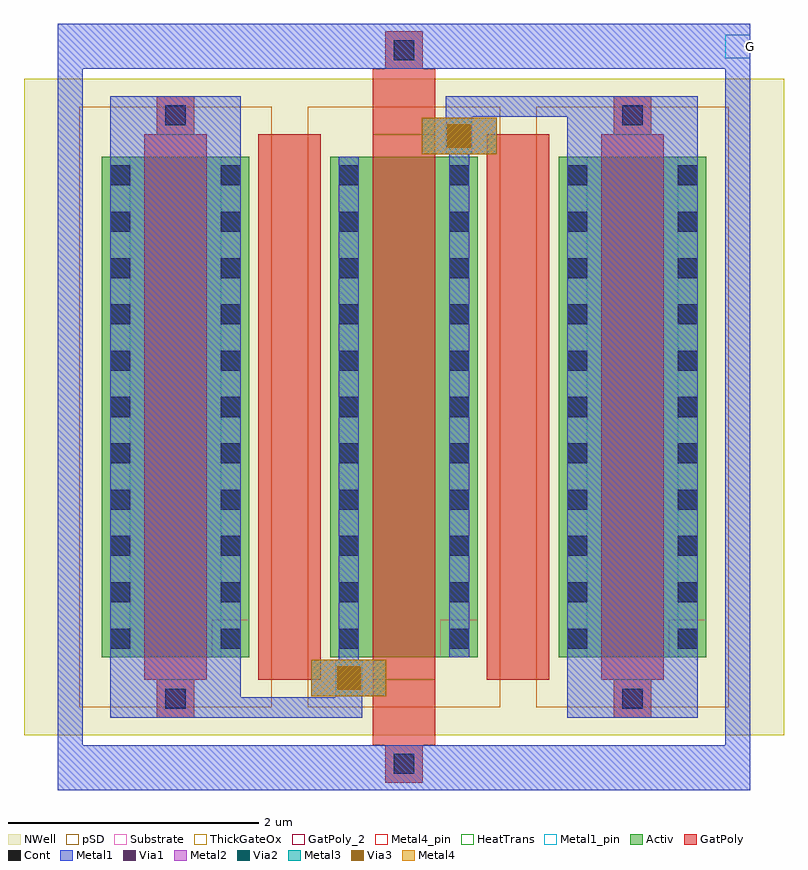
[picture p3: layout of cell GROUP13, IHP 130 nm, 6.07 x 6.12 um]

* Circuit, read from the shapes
.subckt GROUP13 G
XM1 pmosHV$2_priv1_1/D pmosHV$2_priv1_1/D pmosHV$2_priv1_1/D n1 sg13_hv_pmos w=4u l=0.5u
XM2 pmosHV$2_priv1_1/S G pmosHV$2_priv1_1/D n1 sg13_hv_pmos w=4u l=0.5u
XM3 pmosHV$2_priv1_1/S pmosHV$2_priv1_1/S pmosHV$2_priv1_1/S n1 sg13_hv_pmos w=4u l=0.5u
.ends

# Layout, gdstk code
import gdstk
lib = gdstk.Library(unit=1e-6, precision=1e-09)
def R(c, l, rs):  # rectangles x0, y0, x1, y1
    for r in rs: c.add(gdstk.rectangle(r[:2], r[2:], *l))
def A(c, l, x, y, w, h, nx, ny, dx, dy):  # array of equal rectangles
    R(c, l, [(x+i*dx, y+j*dy, x+i*dx+w, y+j*dy+h) for i in range(nx) for j in range(ny)])
Activ = (1, 0)
GatPoly = (5, 0)
GatPoly_2 = (5, 2)
Cont = (6, 0)
Metal1 = (8, 0)
Metal1_pin = (8, 2)
Metal2 = (10, 0)
pSD = (14, 0)
Via1 = (19, 0)
Via2 = (29, 0)
Metal3 = (30, 0)
NWell = (31, 0)
Substrate = (40, 0)
ThickGateOx = (44, 0)
Via3 = (49, 0)
Metal4 = (50, 0)
Metal4_pin = (50, 2)
HeatTrans = (51, 0)

pmoshv_2_priv2 = lib.new_cell('pmosHV$2_priv2')
R(pmoshv_2_priv2, Activ, [(0,0,0.3,0.3), (0,0,1.18,4), (0.88,0,1.18,0.3)])
R(pmoshv_2_priv2, GatPoly, [(0.44,-0.48,0.74,-0.18), (0.34,-0.18,0.84,4.18), (0.44,4.18,0.74,4.48)])
R(pmoshv_2_priv2, GatPoly_2, [(0.34,-0.18,0.84,4.18)])
A(pmoshv_2_priv2, Cont, 0.07, 0.07, 0.16, 0.16, 1, 11, 0, 0.37)
A(pmoshv_2_priv2, Cont, 0.95, 0.07, 0.16, 0.16, 1, 11, 0, 0.37)
R(pmoshv_2_priv2, Cont, [(0.51,-0.41,0.67,-0.25), (0.51,4.25,0.67,4.41)])
R(pmoshv_2_priv2, Metal1, [(0.07,-0.48,1.11,4.48), (0.07,0,0.23,4), (0.95,0,1.11,4)])
R(pmoshv_2_priv2, Metal1_pin, [(0.07,0,0.23,4), (0.95,0,1.11,4)])
R(pmoshv_2_priv2, pSD, [(-0.18,-0.4,1.36,4.4)])
R(pmoshv_2_priv2, NWell, [(-0.62,-0.62,1.8,4.62)])
R(pmoshv_2_priv2, Substrate, [(0.88,0,1.18,0.3)])
R(pmoshv_2_priv2, ThickGateOx, [(-0.62,-0.62,1.8,4.62)])
R(pmoshv_2_priv2, HeatTrans, [(0.34,-0.18,0.84,4.18)])
pmoshv_2_priv2.add(gdstk.Label('pmosHV', (0.59,2), layer=63, texttype=0))
pmoshv_2_priv2.add(gdstk.Label('pmos', (0.59,2), layer=51, texttype=0))

pmoshv_2_priv1 = lib.new_cell('pmosHV$2_priv1')
R(pmoshv_2_priv1, Activ, [(0,0,0.3,0.3), (0,0,1.18,4), (0.88,0,1.18,0.3)])
R(pmoshv_2_priv1, GatPoly, [(0.44,-1,0.74,-0.7), (0.34,-0.7,0.84,-0.18), (0.34,-0.18,0.84,4.18), (0.34,4.18,0.84,4.7), (0.44,4.7,0.74,5)])
R(pmoshv_2_priv1, GatPoly_2, [(0.34,-0.18,0.84,4.18)])
A(pmoshv_2_priv1, Cont, 0.07, 0.07, 0.16, 0.16, 1, 11, 0, 0.37)
A(pmoshv_2_priv1, Cont, 0.95, 0.07, 0.16, 0.16, 1, 11, 0, 0.37)
R(pmoshv_2_priv1, Cont, [(0.51,-0.93,0.67,-0.77), (0.51,4.77,0.67,4.93)])
R(pmoshv_2_priv1, Metal1, [(0.455,-1.06,0.725,-0.7), (0.045,-0.31,0.255,-0.02), (0.07,-0.035,0.23,0.015), (0.07,0,0.23,4), (0.95,0,1.11,4), (0.95,3.985,1.11,4.035), (0.925,4.02,1.135,4.31), (0.455,4.7,0.725,5.06)])
R(pmoshv_2_priv1, Metal1_pin, [(0.07,0,0.23,4), (0.95,0,1.11,4)])
R(pmoshv_2_priv1, Metal2, [(-0.15,-0.31,0.45,-0.02), (0.05,-0.31,0.25,-0.02), (0.73,4.02,1.33,4.31), (0.93,4.02,1.13,4.31)])
R(pmoshv_2_priv1, pSD, [(-0.18,-0.4,1.36,4.4)])
R(pmoshv_2_priv1, Via1, [(0.055,-0.26,0.245,-0.07), (0.935,4.07,1.125,4.26)])
R(pmoshv_2_priv1, Via2, [(0.055,-0.26,0.245,-0.07), (0.935,4.07,1.125,4.26)])
R(pmoshv_2_priv1, Metal3, [(-0.15,-0.31,0.45,-0.02), (0.05,-0.31,0.25,-0.02), (0.73,4.02,1.33,4.31), (0.93,4.02,1.13,4.31)])
R(pmoshv_2_priv1, NWell, [(-0.62,-0.62,1.8,4.62)])
R(pmoshv_2_priv1, Substrate, [(0.88,0,1.18,0.3)])
R(pmoshv_2_priv1, ThickGateOx, [(-0.62,-0.62,1.8,4.62)])
R(pmoshv_2_priv1, Via3, [(0.055,-0.26,0.245,-0.07), (0.935,4.07,1.125,4.26)])
R(pmoshv_2_priv1, Metal4, [(-0.15,-0.31,0.45,-0.02), (0.05,-0.31,0.25,-0.02), (0.73,4.02,1.33,4.31), (0.93,4.02,1.13,4.31)])
R(pmoshv_2_priv1, Metal4_pin, [(0.055,-0.26,0.245,-0.07), (0.935,4.07,1.125,4.26)])
R(pmoshv_2_priv1, HeatTrans, [(0.34,-0.18,0.84,4.18)])
pmoshv_2_priv1.add(gdstk.Label('pmosHV', (0.59,2), layer=63, texttype=0))
pmoshv_2_priv1.add(gdstk.Label('pmos', (0.59,2), layer=51, texttype=0))
pmoshv_2_priv1.add(gdstk.Label('S', (1.03,4.165), layer=50, texttype=0))
pmoshv_2_priv1.add(gdstk.Label('D', (0.15,-0.165), layer=50, texttype=0))

pmoshv_2_priv3 = lib.new_cell('pmosHV$2_priv3')
R(pmoshv_2_priv3, Activ, [(0,0,0.3,0.3), (0,0,1.18,4), (0.88,0,1.18,0.3)])
R(pmoshv_2_priv3, GatPoly, [(0.44,-0.48,0.74,-0.18), (0.34,-0.18,0.84,4.18), (0.44,4.18,0.74,4.48)])
R(pmoshv_2_priv3, GatPoly_2, [(0.34,-0.18,0.84,4.18)])
A(pmoshv_2_priv3, Cont, 0.07, 0.07, 0.16, 0.16, 1, 11, 0, 0.37)
A(pmoshv_2_priv3, Cont, 0.95, 0.07, 0.16, 0.16, 1, 11, 0, 0.37)
R(pmoshv_2_priv3, Cont, [(0.51,-0.41,0.67,-0.25), (0.51,4.25,0.67,4.41)])
R(pmoshv_2_priv3, Metal1, [(0.07,-0.48,1.11,4.48), (0.07,0,0.23,4), (0.95,0,1.11,4)])
R(pmoshv_2_priv3, Metal1_pin, [(0.07,0,0.23,4), (0.95,0,1.11,4)])
R(pmoshv_2_priv3, pSD, [(-0.18,-0.4,1.36,4.4)])
R(pmoshv_2_priv3, NWell, [(-0.62,-0.62,1.8,4.62)])
R(pmoshv_2_priv3, Substrate, [(0.88,0,1.18,0.3)])
R(pmoshv_2_priv3, ThickGateOx, [(-0.62,-0.62,1.8,4.62)])
R(pmoshv_2_priv3, HeatTrans, [(0.34,-0.18,0.84,4.18)])
pmoshv_2_priv3.add(gdstk.Label('pmosHV', (0.59,2), layer=63, texttype=0))
pmoshv_2_priv3.add(gdstk.Label('pmos', (0.59,2), layer=51, texttype=0))

group13 = lib.new_cell('GROUP13')
R(group13, GatPoly, [(103.385,190.66,103.885,195.02), (105.21,190.66,105.71,195.02)])
R(group13, Metal1, [(101.785,189.78,107.315,190.14), (101.785,189.78,101.985,195.9), (107.115,189.78,107.315,195.9), (103.245,190.36,104.215,190.52), (104.005,190.52,104.215,190.82), (104.885,194.86,105.095,195.16), (104.885,195.16,105.855,195.32), (101.785,195.54,107.315,195.9)])
R(group13, Metal1_pin, [(107.115,195.625,107.315,195.815)])
group13.add(gdstk.Reference(pmoshv_2_priv2, (105.785,190.84)))
group13.add(gdstk.Reference(pmoshv_2_priv1, (103.96,190.84)))
group13.add(gdstk.Reference(pmoshv_2_priv3, (102.135,190.84)))
group13.add(gdstk.Label('G', (107.315,195.72), layer=8, texttype=0))
group13.add(gdstk.Label('XMPB4', (103.95,196.2), layer=1000, texttype=0))
group13.add(gdstk.Label('XMPB1', (104.55,196.2), layer=1000, texttype=0))
group13.add(gdstk.Label('XMPB3', (105.15,196.2), layer=1000, texttype=0))

lib.write_gds('GROUP13.gds')
